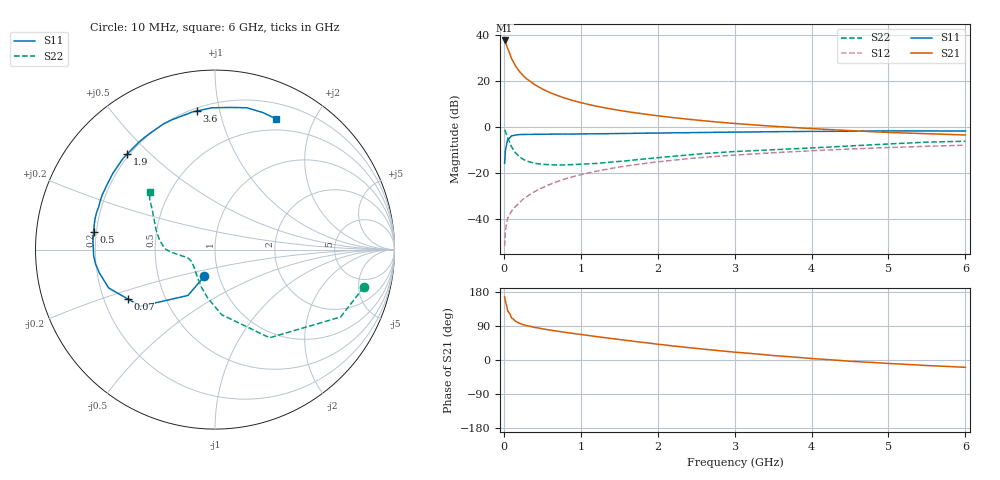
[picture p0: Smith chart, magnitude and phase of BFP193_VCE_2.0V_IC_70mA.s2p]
! (c) 2017  Infineon Technologies AG, Munich
! Infineon Technologies  Discrete & RF Semiconductors
! BFP193
! VCE =  2.0 V,  IC =  70 mA
! Common Emitter S-Parameters:  Jan 2017
# GHz  S  MA  R  50
!  f  S11  S21  S12  S22
! GHz  MAG  ANG  MAG  ANG  MAG  ANG  MAG  ANG
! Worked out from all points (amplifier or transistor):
!   77 points, 10 MHz to 6 GHz, reference 50 ohm
!   highest |S21| = 37.5 dB at 10 MHz (marker M1)
!   |S21| within 3 dB of that: start of sweep to 44.29 MHz
!   unconditionally stable (mu >= 1): 351.4 MHz to 2.627 GHz
!   at 130 MHz: K = 0.76, MSG = 31.7 dB, |S12| = -35.5 dB
!   at 2.2 GHz: K = 1.02, MAG = 8.4 dB, |S12| = -14.6 dB
!   at 6 GHz: K = 0.96, MSG = 2.2 dB, |S12| = -8.1 dB
!   S11 on the Smith chart (normalised r, x): 10 MHz: 0.85, -0.26; 70 MHz: 0.30, -0.24; 500 MHz: 0.19, +0.07; 1.9 GHz: 0.19, +0.42; 3.6 GHz: 0.22, +0.85; 6 GHz: 0.37, +1.51
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0.01  0.1596 -111.8  75.34 166.7  0.0025 88.0  0.8548 -14.2
0.02  0.2964 -120.5  70.81 154.8  0.0051 69.3  0.7942 -28.2
0.05  0.5219 -142.8  50.26 129.6  0.0102 59.3  0.5782 -58.2
0.07  0.5587 -150.6  41.85 124.3  0.0119 58.6  0.4823 -65.8
0.1  0.6299 -160.2  30.38 111.0  0.0144 57.9  0.3647 -84.2
0.15  0.6577 -168.7  21.16 102.5  0.0182 61.9  0.2706 -98.9
0.2  0.6708 -173.3  16.13 97.2  0.0218 64.0  0.2233 -109.7
0.25  0.6771 -177.1  12.99 93.3  0.0264 65.4  0.1951 -117.6
0.3  0.6775 -179.7  10.88 90.6  0.03 67.0  0.1776 -124.5
0.4  0.6814 175.9  8.225 86.0  0.0386 69.7  0.1595 -134.2
0.5  0.6834 171.9  6.591 82.3  0.0469 69.8  0.1512 -141.2
0.7  0.69 165.7  4.739 76.0  0.0642 70.5  0.1459 -151.0
0.9  0.6904 159.7  3.694 70.1  0.0814 68.6  0.1497 -156.7
1.1  0.6984 154.1  3.049 64.7  0.0983 66.7  0.155 -160.9
1.5  0.71 143.4  2.262 54.2  0.132 62.1  0.1753 -167.3
1.9  0.7231 132.8  1.814 44.3  0.1638 56.7  0.2031 -171.7
2.1  0.7288 127.7  1.648 39.5  0.1786 53.9  0.2186 -173.7
3.1  0.7636 106.4  1.141 19.1  0.2461 40.3  0.2922 175.3
3.6  0.7789 97.5  0.997 10.4  0.2759 34.3  0.3199 168.3
4.1  0.7904 89.7  0.89 2.6  0.3039 28.1  0.3509 160.1
5.1  0.8088 76.0  0.738 -10.1  0.3557 16.2  0.428 145.8
6  0.8037 64.8  0.659 -19.3  0.3955 6.0  0.4816 138.6
